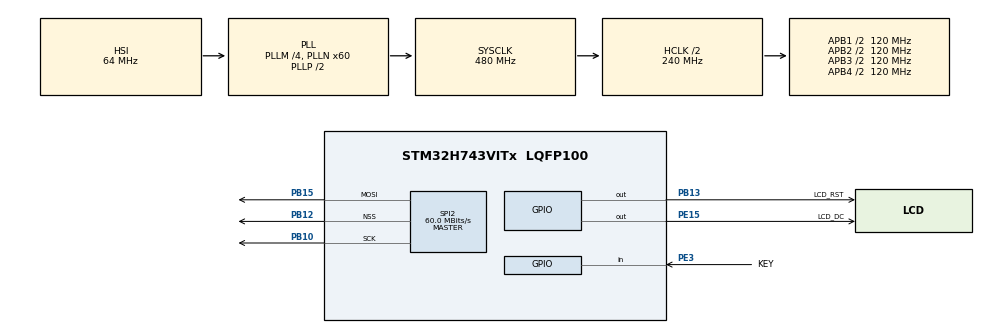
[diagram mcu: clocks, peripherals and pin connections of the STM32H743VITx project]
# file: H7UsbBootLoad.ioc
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Dma.Request0=SPI2_TX
Dma.SPI2_TX.0.Direction=DMA_MEMORY_TO_PERIPH
Dma.SPI2_TX.0.EventEnable=DISABLE
Dma.SPI2_TX.0.FIFOMode=DMA_FIFOMODE_DISABLE
Dma.SPI2_TX.0.Instance=DMA1_Stream0
Dma.SPI2_TX.0.MemDataAlignment=DMA_MDATAALIGN_BYTE
Dma.SPI2_TX.0.MemInc=DMA_MINC_ENABLE
Dma.SPI2_TX.0.Mode=DMA_NORMAL
Dma.SPI2_TX.0.PeriphDataAlignment=DMA_PDATAALIGN_BYTE
Dma.SPI2_TX.0.PeriphInc=DMA_PINC_DISABLE
Dma.SPI2_TX.0.Polarity=HAL_DMAMUX_REQ_GEN_RISING
Dma.SPI2_TX.0.Priority=DMA_PRIORITY_VERY_HIGH
Dma.SPI2_TX.0.RequestNumber=1
Dma.SPI2_TX.0.SignalID=NONE
Dma.SPI2_TX.0.SyncEnable=DISABLE
Dma.SPI2_TX.0.SyncPolarity=HAL_DMAMUX_SYNC_NO_EVENT
Dma.SPI2_TX.0.SyncRequestNumber=1
Dma.SPI2_TX.0.SyncSignalID=NONE
Mcu.Family=STM32H7
Mcu.Name=STM32H743VITx
Mcu.Package=LQFP100
NVIC.DMA1_Stream0_IRQn=true\:0\:0\:false\:false\:true\:false\:true
NVIC.PriorityGroup=NVIC_PRIORITYGROUP_4
NVIC.SPI2_IRQn=true\:0\:0\:false\:false\:true\:false\:true
PB10.GPIO_Speed=GPIO_SPEED_FREQ_VERY_HIGH
PB10.Mode=TX_Only_Simplex_Unidirect_Master
PB10.Signal=SPI2_SCK
PB12.GPIO_Speed=GPIO_SPEED_FREQ_VERY_HIGH
PB12.Mode=NSS_Signal_Hard_Output
PB12.Signal=SPI2_NSS
PB13.GPIO_Label=LCD_RST
PB13.GPIO_Speed=GPIO_SPEED_FREQ_VERY_HIGH
PB13.Signal=GPIO_Output
PB15.GPIO_Speed=GPIO_SPEED_FREQ_VERY_HIGH
PB15.Mode=TX_Only_Simplex_Unidirect_Master
PB15.Signal=SPI2_MOSI
PE15.GPIO_Label=LCD_DC
PE15.GPIO_Speed=GPIO_SPEED_FREQ_VERY_HIGH
PE15.PinState=GPIO_PIN_SET
PE15.Signal=GPIO_Output
PE3.GPIO_Label=KEY
PE3.Signal=GPIO_Input
PH0-OSC_IN\ (PH0).Mode=HSE-External-Oscillator
PH0-OSC_IN\ (PH0).Signal=RCC_OSC_IN
PH1-OSC_OUT\ (PH1).Mode=HSE-External-Oscillator
PH1-OSC_OUT\ (PH1).Signal=RCC_OSC_OUT
ProjectManager.HeapSize=0x200
ProjectManager.StackSize=0x400
ProjectManager.TargetToolchain=MDK-ARM V5.27
RCC.ADCFreq_Value=129000000
RCC.APB1Freq_Value=120000000
RCC.APB2Freq_Value=120000000
RCC.APB3Freq_Value=120000000
RCC.APB4Freq_Value=120000000
RCC.CortexFreq_Value=480000000
RCC.D1PPRE=RCC_APB3_DIV2
RCC.D2PPRE1=RCC_APB1_DIV2
RCC.D2PPRE2=RCC_APB2_DIV2
RCC.D3PPRE=RCC_APB4_DIV2
RCC.DIVM1=4
RCC.DIVN1=60
RCC.HCLKFreq_Value=240000000
RCC.HPRE=RCC_HCLK_DIV2
RCC.PLL2FRACN=0
RCC.PLL3FRACN=0
RCC.PLLFRACN=0
RCC.SYSCLKFreq_VALUE=480000000
RCC.SYSCLKSource=RCC_SYSCLKSOURCE_PLLCLK
RCC.USBFreq_Value=480000000
SPI2.BaudRatePrescaler=SPI_BAUDRATEPRESCALER_8
SPI2.CalculateBaudRate=60.0 MBits/s
SPI2.DataSize=SPI_DATASIZE_8BIT
SPI2.Direction=SPI_DIRECTION_2LINES_TXONLY
SPI2.Mode=SPI_MODE_MASTER
SPI2.VirtualNSS=VM_NSSHARD
SPI2.VirtualType=VM_MASTER
board=custom

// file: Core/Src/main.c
/* USER CODE BEGIN Header */
/**
  ******************************************************************************
  * @file           : main.c
  * @brief          : Main program body
  ******************************************************************************
  * @attention
  *
  * <h2><center>&copy; Copyright (c) 2020 STMicroelectronics.
  * All rights reserved.</center></h2>
  *
  * This software component is licensed by ST under BSD 3-Clause license,
  * the "License"; You may not use this file except in compliance with the
  * License. You may obtain a copy of the License at:
  *                        opensource.org/licenses/BSD-3-Clause
  *
  ******************************************************************************
  */
/* USER CODE END Header */
#include "main.h"
#include "dma.h"
#include "spi.h"
#include "gpio.h"

/* USER CODE BEGIN Includes */
#include "ILI9341DriverWrapper.h"
#include "ILI9341Driver.h"
/* USER CODE END Includes */

/* USER CODE BEGIN PD */
static void JumpToBootloader(void);
static void JumpToUserApp(void);
/* USER CODE END PD */

/* USER CODE BEGIN PM */
struct ILI9341DriverK *LCD1;
/* USER CODE END PM */

/* USER CODE BEGIN PV */
uint8_t STR1[]="Welcome to H7 bootload";
uint8_t STR2[]="Go user app in 3s";
/* USER CODE END PV */

void SystemClock_Config(void);

int main(void)
{

  /* MCU Configuration--------------------------------------------------------*/

  /* Reset of all peripherals, Initializes the Flash interface and the Systick. */
  HAL_Init();

  /* Configure the system clock */
  SystemClock_Config();

  /* Initialize all configured peripherals */
  MX_GPIO_Init();
  MX_DMA_Init();
  MX_SPI2_Init();
  /* USER CODE BEGIN 2 */
	LCD1=NewLCDGet();
	ILI9341Init(LCD1,&hspi2);
	ILI9341_Set_Rotation(LCD1,SCREEN_HORIZONTAL_2);
	ILI9341SetColor(LCD1,WHITE);
	ILI9341_AppendList(LCD1,STR1);
	if(HAL_GPIO_ReadPin(KEY_GPIO_Port,KEY_Pin)==GPIO_PIN_RESET)
	{
		JumpToBootloader();
	}
	else
	{

		ILI9341_AppendList(LCD1,STR2);
		HAL_Delay(3000);
		JumpToUserApp();
	}
  /* USER CODE END 2 */

  /* Infinite loop */
  while (1)
  {

  }
}

void SystemClock_Config(void)
{
  RCC_OscInitTypeDef RCC_OscInitStruct = {0};
  RCC_ClkInitTypeDef RCC_ClkInitStruct = {0};
  RCC_PeriphCLKInitTypeDef PeriphClkInitStruct = {0};

  /** Supply configuration update enable
  */
  HAL_PWREx_ConfigSupply(PWR_LDO_SUPPLY);
  /** Configure the main internal regulator output voltage
  */
  __HAL_PWR_VOLTAGESCALING_CONFIG(PWR_REGULATOR_VOLTAGE_SCALE0);

  while(!__HAL_PWR_GET_FLAG(PWR_FLAG_VOSRDY)) {}
  /** Initializes the RCC Oscillators according to the specified parameters
  * in the RCC_OscInitTypeDef structure.
  */
  RCC_OscInitStruct.OscillatorType = RCC_OSCILLATORTYPE_HSI;
  RCC_OscInitStruct.HSIState = RCC_HSI_DIV1;
  RCC_OscInitStruct.HSICalibrationValue = RCC_HSICALIBRATION_DEFAULT;
  RCC_OscInitStruct.PLL.PLLState = RCC_PLL_ON;
  RCC_OscInitStruct.PLL.PLLSource = RCC_PLLSOURCE_HSI;
  RCC_OscInitStruct.PLL.PLLM = 4;
  RCC_OscInitStruct.PLL.PLLN = 60;
  RCC_OscInitStruct.PLL.PLLP = 2;
  RCC_OscInitStruct.PLL.PLLQ = 2;
  RCC_OscInitStruct.PLL.PLLR = 2;
  RCC_OscInitStruct.PLL.PLLRGE = RCC_PLL1VCIRANGE_3;
  RCC_OscInitStruct.PLL.PLLVCOSEL = RCC_PLL1VCOWIDE;
  RCC_OscInitStruct.PLL.PLLFRACN = 0;
  if (HAL_RCC_OscConfig(&RCC_OscInitStruct) != HAL_OK)
  {
    Error_Handler();
  }
  /** Initializes the CPU, AHB and APB buses clocks
  */
  RCC_ClkInitStruct.ClockType = RCC_CLOCKTYPE_HCLK|RCC_CLOCKTYPE_SYSCLK
                              |RCC_CLOCKTYPE_PCLK1|RCC_CLOCKTYPE_PCLK2
                              |RCC_CLOCKTYPE_D3PCLK1|RCC_CLOCKTYPE_D1PCLK1;
  RCC_ClkInitStruct.SYSCLKSource = RCC_SYSCLKSOURCE_PLLCLK;
  RCC_ClkInitStruct.SYSCLKDivider = RCC_SYSCLK_DIV1;
  RCC_ClkInitStruct.AHBCLKDivider = RCC_HCLK_DIV2;
  RCC_ClkInitStruct.APB3CLKDivider = RCC_APB3_DIV2;
  RCC_ClkInitStruct.APB1CLKDivider = RCC_APB1_DIV2;
  RCC_ClkInitStruct.APB2CLKDivider = RCC_APB2_DIV2;
  RCC_ClkInitStruct.APB4CLKDivider = RCC_APB4_DIV2;

  if (HAL_RCC_ClockConfig(&RCC_ClkInitStruct, FLASH_LATENCY_4) != HAL_OK)
  {
    Error_Handler();
  }
  PeriphClkInitStruct.PeriphClockSelection = RCC_PERIPHCLK_SPI2;
  PeriphClkInitStruct.Spi123ClockSelection = RCC_SPI123CLKSOURCE_PLL;
  if (HAL_RCCEx_PeriphCLKConfig(&PeriphClkInitStruct) != HAL_OK)
  {
    Error_Handler();
  }
}

/* USER CODE BEGIN 4 */
static void JumpToBootloader(void)
    {
        uint32_t i=0;
        void (*SysMemBootJump)(void);        /* 声明一个函数指针 */
        __IO uint32_t BootAddr = 0x1FF09800; /* STM32H7的系统BootLoader地址 */

        /* 关闭全局中断 */
        DISABLE_INT();

        /* 关闭滴答定时器，复位到默认值 */
        SysTick->CTRL = 0;
        SysTick->LOAD = 0;
        SysTick->VAL = 0;

        /* 设置所有时钟到默认状态，使用HSI时钟 */
        HAL_RCC_DeInit();

        /* 关闭所有中断，清除所有中断挂起标志 */
        for (i = 0; i < 8; i++)
        {
            NVIC->ICER[i]=0xFFFFFFFF;
            NVIC->ICPR[i]=0xFFFFFFFF;
        }

        /* 使能全局中断 */
        ENABLE_INT();

        /* 跳转到系统BootLoader，首地址是MSP，地址+4是复位中断服务程序地址 */
        SysMemBootJump = (void (*)(void)) (*((uint32_t *) (BootAddr + 4)));

        /* 设置主堆栈指针 */
        __set_MSP(*(uint32_t *)BootAddr);

        /* 在RTOS工程，这条语句很重要，设置为特权级模式，使用MSP指针 */
        __set_CONTROL(0);

        /* 跳转到系统BootLoader */
        SysMemBootJump();

        /* 跳转成功的话，不会执行到这里，用户可以在这里添加代码 */
        while (1)
        {

        }
    }
static void JumpToUserApp(void)
		{
	uint32_t JumpAddr = 0;
	uint32_t AppFlashBase=0x08020000;
	void (*pFun)(void); //定义一个函数指针.用于指向APP程序入口

	//APP程序要跳转到复位向量 也就是App基地址+4的地址
	JumpAddr = *(uint32_t *)( AppFlashBase + 4);

	//生成跳转函数.将复位中断向量地址做为函数指针
	pFun = (void (*)(void))JumpAddr;

	//关闭所有外设
	HAL_DeInit();

	//执行用户App
	(*pFun)();
		}
/* USER CODE END 4 */

void Error_Handler(void)
{
}

/************************ (C) COPYRIGHT STMicroelectronics *****END OF FILE****/
